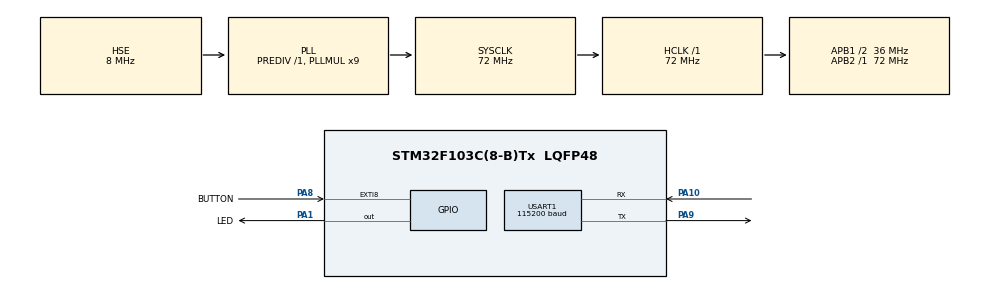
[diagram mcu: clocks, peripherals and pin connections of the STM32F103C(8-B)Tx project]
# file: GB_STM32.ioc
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Mcu.Family=STM32F1
Mcu.Name=STM32F103C(8-B)Tx
Mcu.Package=LQFP48
NVIC.PriorityGroup=NVIC_PRIORITYGROUP_4
NVIC.USART1_IRQn=true\:0\:0\:false\:false\:true\:true\:true\:true
PA1.GPIO_Label=LED
PA1.Signal=GPIO_Output
PA10.Mode=Asynchronous
PA10.Signal=USART1_RX
PA13.Mode=Serial_Wire
PA13.Signal=SYS_JTMS-SWDIO
PA14.Mode=Serial_Wire
PA14.Signal=SYS_JTCK-SWCLK
PA8.GPIO_Label=BUTTON
PA8.GPIO_ModeDefaultEXTI=GPIO_MODE_IT_FALLING
PA8.GPIO_PuPd=GPIO_PULLUP
PA8.Signal=GPXTI8
PA9.Mode=Asynchronous
PA9.Signal=USART1_TX
PC14-OSC32_IN.Mode=LSE-External-Oscillator
PC14-OSC32_IN.Signal=RCC_OSC32_IN
PC15-OSC32_OUT.Mode=LSE-External-Oscillator
PC15-OSC32_OUT.Signal=RCC_OSC32_OUT
PD0-OSC_IN.Mode=HSE-External-Oscillator
PD0-OSC_IN.Signal=RCC_OSC_IN
PD1-OSC_OUT.Mode=HSE-External-Oscillator
PD1-OSC_OUT.Signal=RCC_OSC_OUT
ProjectManager.HeapSize=0x200
ProjectManager.StackSize=0x400
ProjectManager.TargetToolchain=STM32CubeIDE
RCC.ADCPresc=RCC_ADCPCLK2_DIV6
RCC.AHBFreq_Value=72000000
RCC.APB1CLKDivider=RCC_HCLK_DIV2
RCC.APB1Freq_Value=36000000
RCC.APB1TimFreq_Value=72000000
RCC.APB2Freq_Value=72000000
RCC.APB2TimFreq_Value=72000000
RCC.HCLKFreq_Value=72000000
RCC.PLLMUL=RCC_PLL_MUL9
RCC.PLLSourceVirtual=RCC_PLLSOURCE_HSE
RCC.SYSCLKFreq_VALUE=72000000
RCC.SYSCLKSource=RCC_SYSCLKSOURCE_PLLCLK
RCC.USBFreq_Value=72000000
USART1.BaudRate=115200
USART1.VirtualMode=VM_ASYNC
VP_CRC_VS_CRC.Mode=CRC_Activate
board=custom

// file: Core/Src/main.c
/* USER CODE BEGIN Header */
/**
  ******************************************************************************
  * @file           : main.c
  * @brief          : Main program body
  ******************************************************************************
  * @attention
  *
  * Copyright (c) 2023 STMicroelectronics.
  * All rights reserved.
  *
  * This software is licensed under terms that can be found in the LICENSE file
  * in the root directory of this software component.
  * If no LICENSE file comes with this software, it is provided AS-IS.
  *
  ******************************************************************************
  */
/* USER CODE END Header */
#include "main.h"

/* USER CODE BEGIN Includes */

#include "prog.h"

/* USER CODE END Includes */

CRC_HandleTypeDef hcrc;

UART_HandleTypeDef huart1;

/* USER CODE BEGIN PV */
    uint8_t flag_rx_complete = 0;
    uint8_t rx_buffer[RX_BUFFER_SIZE] = {'\0',};
/* USER CODE END PV */

void SystemClock_Config(void);
static void MX_GPIO_Init(void);
static void MX_CRC_Init(void);
static void MX_USART1_UART_Init(void);
/* USER CODE BEGIN PFP */
void go_to_app();

/* USER CODE END PFP */

int main(void)
{

  /* MCU Configuration--------------------------------------------------------*/

  /* Reset of all peripherals, Initializes the Flash interface and the Systick. */
  HAL_Init();

  /* USER CODE BEGIN Init */
    parsing_init(rx_buffer, RX_BUFFER_SIZE, &huart1);
  /* USER CODE END Init */

  /* Configure the system clock */
  SystemClock_Config();

  /* Initialize all configured peripherals */
  MX_GPIO_Init();
  MX_CRC_Init();
  MX_USART1_UART_Init();
  /* USER CODE BEGIN 2 */
    if (!HAL_GPIO_ReadPin(BUTTON_GPIO_Port, BUTTON_Pin))
    {
        HAL_UART_Receive_IT(&huart1,rx_buffer,1);
    }
    else
    {
        go_to_app();
    }

  /* USER CODE END 2 */

  /* Infinite loop */
  /* USER CODE BEGIN WHILE */
  while (1)
  {
      if (flag_rx_complete)
      {
          HAL_UART_Receive(&huart1,rx_buffer + 1,RX_BUFFER_SIZE,1000);
          rx_packet_handler();
          char messageRes[] = {"Reset device\n\r\0"};
          print_log(messageRes);
          HAL_NVIC_SystemReset();
      }
    /* USER CODE END WHILE */

  }
}

void SystemClock_Config(void)
{
  RCC_OscInitTypeDef RCC_OscInitStruct = {0};
  RCC_ClkInitTypeDef RCC_ClkInitStruct = {0};

  /** Initializes the RCC Oscillators according to the specified parameters
  * in the RCC_OscInitTypeDef structure.
  */
  RCC_OscInitStruct.OscillatorType = RCC_OSCILLATORTYPE_HSE;
  RCC_OscInitStruct.HSEState = RCC_HSE_ON;
  RCC_OscInitStruct.HSEPredivValue = RCC_HSE_PREDIV_DIV1;
  RCC_OscInitStruct.HSIState = RCC_HSI_ON;
  RCC_OscInitStruct.PLL.PLLState = RCC_PLL_ON;
  RCC_OscInitStruct.PLL.PLLSource = RCC_PLLSOURCE_HSE;
  RCC_OscInitStruct.PLL.PLLMUL = RCC_PLL_MUL9;
  if (HAL_RCC_OscConfig(&RCC_OscInitStruct) != HAL_OK)
  {
    Error_Handler();
  }

  /** Initializes the CPU, AHB and APB buses clocks
  */
  RCC_ClkInitStruct.ClockType = RCC_CLOCKTYPE_HCLK|RCC_CLOCKTYPE_SYSCLK
                              |RCC_CLOCKTYPE_PCLK1|RCC_CLOCKTYPE_PCLK2;
  RCC_ClkInitStruct.SYSCLKSource = RCC_SYSCLKSOURCE_PLLCLK;
  RCC_ClkInitStruct.AHBCLKDivider = RCC_SYSCLK_DIV1;
  RCC_ClkInitStruct.APB1CLKDivider = RCC_HCLK_DIV2;
  RCC_ClkInitStruct.APB2CLKDivider = RCC_HCLK_DIV1;

  if (HAL_RCC_ClockConfig(&RCC_ClkInitStruct, FLASH_LATENCY_2) != HAL_OK)
  {
    Error_Handler();
  }
}

static void MX_CRC_Init(void)
{

  hcrc.Instance = CRC;
  if (HAL_CRC_Init(&hcrc) != HAL_OK)
  {
    Error_Handler();
  }

}

static void MX_USART1_UART_Init(void)
{

  huart1.Instance = USART1;
  huart1.Init.BaudRate = 115200;
  huart1.Init.WordLength = UART_WORDLENGTH_8B;
  huart1.Init.StopBits = UART_STOPBITS_1;
  huart1.Init.Parity = UART_PARITY_NONE;
  huart1.Init.Mode = UART_MODE_TX_RX;
  huart1.Init.HwFlowCtl = UART_HWCONTROL_NONE;
  huart1.Init.OverSampling = UART_OVERSAMPLING_16;
  if (HAL_UART_Init(&huart1) != HAL_OK)
  {
    Error_Handler();
  }

}

static void MX_GPIO_Init(void)
{
  GPIO_InitTypeDef GPIO_InitStruct = {0};

  /* GPIO Ports Clock Enable */
  __HAL_RCC_GPIOC_CLK_ENABLE();
  __HAL_RCC_GPIOD_CLK_ENABLE();
  __HAL_RCC_GPIOA_CLK_ENABLE();

  /*Configure GPIO pin Output Level */
  HAL_GPIO_WritePin(LED_GPIO_Port, LED_Pin, GPIO_PIN_RESET);

  /*Configure GPIO pin : LED_Pin */
  GPIO_InitStruct.Pin = LED_Pin;
  GPIO_InitStruct.Mode = GPIO_MODE_OUTPUT_PP;
  GPIO_InitStruct.Pull = GPIO_NOPULL;
  GPIO_InitStruct.Speed = GPIO_SPEED_FREQ_LOW;
  HAL_GPIO_Init(LED_GPIO_Port, &GPIO_InitStruct);

  /*Configure GPIO pin : BUTTON_Pin */
  GPIO_InitStruct.Pin = BUTTON_Pin;
  GPIO_InitStruct.Mode = GPIO_MODE_IT_FALLING;
  GPIO_InitStruct.Pull = GPIO_PULLUP;
  HAL_GPIO_Init(BUTTON_GPIO_Port, &GPIO_InitStruct);

}

/* USER CODE BEGIN 4 */
void go_to_app()
{
    uint32_t app_jump_address;
    void (*go_to_app)(void);
    app_jump_address = *((volatile uint32_t*)(FIRMWARE_START_ADDRESS + 4));
    go_to_app = (void (*)(void ))app_jump_address;
    HAL_DeInit();
    __disable_irq();
    __set_MSP(*((volatile uint32_t*)FIRMWARE_START_ADDRESS));
    go_to_app();
}

void HAL_UART_RxCpltCallback(UART_HandleTypeDef *huart)
{
    flag_rx_complete = 1;
}

/* USER CODE END 4 */

void Error_Handler(void)
{
  __disable_irq();
  while (1)
  {
  }
}
